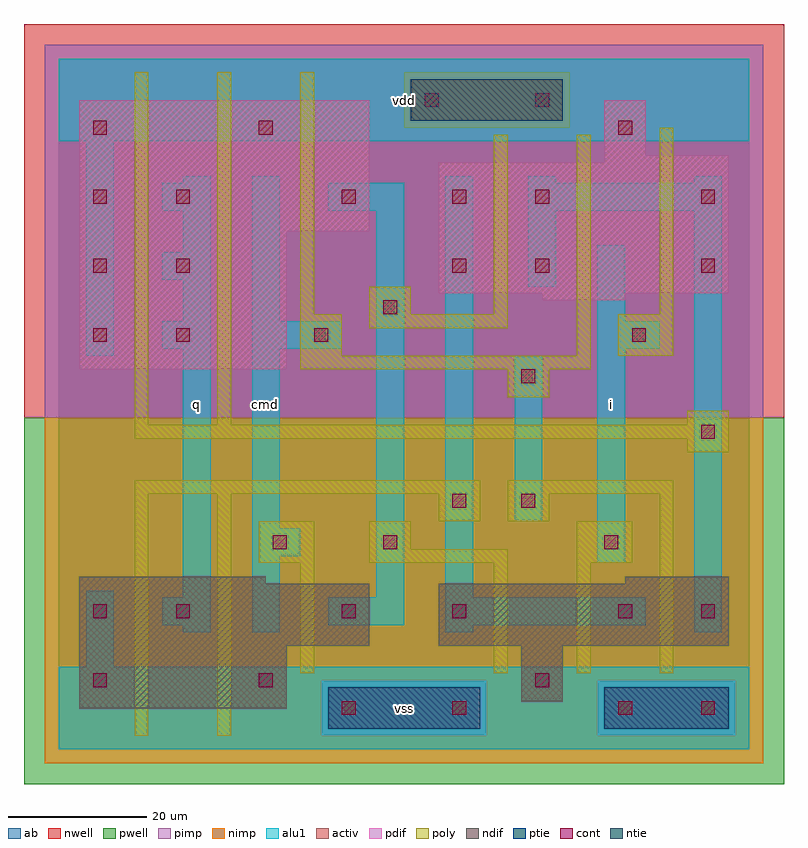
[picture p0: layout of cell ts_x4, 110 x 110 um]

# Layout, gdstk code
import gdstk
lib = gdstk.Library(unit=1e-6, precision=1e-09)
def R(c, l, rs):  # rectangles x0, y0, x1, y1
    for r in rs: c.add(gdstk.rectangle(r[:2], r[2:], *l))
def A(c, l, x, y, w, h, nx, ny, dx, dy):  # array of equal rectangles
    R(c, l, [(x+i*dx, y+j*dy, x+i*dx+w, y+j*dy+h) for i in range(nx) for j in range(ny)])
ndif = (3, 0)
pdif = (4, 0)
ntie = (5, 0)
ptie = (6, 0)
cont = (25, 0)
pwell = (41, 0)
nwell = (42, 0)
activ = (43, 0)
pimp = (44, 0)
nimp = (45, 0)
poly = (46, 0)
alu1 = (49, 0)
ab = (63, 0)

ts_x4 = lib.new_cell('ts_x4')
R(ts_x4, ndif, [(3,6,33,15), (67,7,73,15), (3,15,45,24), (55,15,97,24), (3,24,30,25), (82,24,97,25)])
R(ts_x4, pdif, [(3,55,33,75), (70,65,82,66), (55,66,97,85), (3,75,45,94), (79,85,97,86), (79,86,85,94)])
R(ts_x4, ntie, [(51,91,73,97)])
R(ts_x4, ptie, [(39,3,61,9), (79,3,97,9)])
A(ts_x4, cont, 5, 59, 2, 2, 1, 4, 0, 10)
A(ts_x4, cont, 17, 59, 2, 2, 1, 3, 0, 10)
R(ts_x4, cont, [(41,5,43,7), (57,5,59,7), (81,5,83,7), (93,5,95,7), (5,9,7,11), (29,9,31,11), (69,9,71,11), (5,19,7,21), (17,19,19,21), (41,19,43,21), (57,19,59,21), (81,19,83,21), (93,19,95,21), (31,29,33,31), (47,29,49,31), (79,29,81,31), (57,35,59,37), (67,35,69,37), (93,45,95,47), (67,53,69,55), (37,59,39,61), (83,59,85,61), (47,63,49,65), (57,69,59,71), (69,69,71,71), (93,69,95,71), (41,79,43,81), (57,79,59,81), (69,79,71,81), (93,79,95,81), (29,89,31,91), (81,89,83,91), (53,93,55,95), (69,93,71,95)])
R(ts_x4, pwell, [(-5,-5,105,48)])
R(ts_x4, nwell, [(-5,48,105,105)])
R(ts_x4, activ, [(39,3,61,9), (79,3,97,9), (3,6,33,15), (67,7,73,15), (3,15,45,24), (55,15,97,24), (3,24,30,25), (82,24,97,25), (3,55,33,75), (70,65,82,66), (55,66,97,85), (3,75,45,94), (79,85,97,86), (79,86,85,94), (51,91,73,97)])
R(ts_x4, pimp, [(38,2,62,10), (78,2,98,10), (-2,48,102,90), (-2,90,50,98), (74,90,102,98), (-2,98,102,102)])
R(ts_x4, nimp, [(-2,-2,102,2), (-2,2,38,10), (62,2,78,10), (98,2,102,10), (-2,10,102,48), (50,90,74,98)])
R(ts_x4, poly, [(11,2,13,37), (23,2,25,37), (35,11,37,27), (63,11,65,27), (75,11,77,27), (87,11,89,37), (29,27,37,33), (45,27,65,29), (75,27,83,33), (45,29,51,33), (55,33,61,37), (65,33,71,37), (11,37,61,39), (65,37,89,39), (91,43,97,45), (11,45,97,47), (11,47,13,98), (23,47,25,98), (91,47,97,49), (65,51,71,55), (35,55,77,57), (35,57,41,63), (75,57,77,89), (81,57,89,63), (45,61,65,63), (35,63,37,98), (45,63,51,67), (63,63,65,89), (87,63,89,90)])
A(ts_x4, alu1, 15, 58, 7, 4, 1, 3, 0, 10)
R(ts_x4, alu1, [(0,0,100,12), (4,12,8,23), (18,17,22,18), (28,17,32,28), (56,17,60,18), (92,17,96,78), (15,18,22,22), (39,18,50,22), (56,18,85,22), (18,22,22,58), (46,22,50,78), (56,22,60,83), (78,27,82,58), (28,28,35,32), (28,32,32,58), (66,33,70,57), (4,57,8,88), (28,58,41,62), (78,58,87,62), (18,62,22,68), (28,62,32,83), (78,62,82,73), (68,67,72,78), (18,72,22,78), (39,78,50,82), (68,78,96,82), (18,82,22,83), (68,82,72,83), (92,82,96,83), (0,88,100,100)])
R(ts_x4, ab, [(0,0,100,100)])
ts_x4.add(gdstk.Label('q', (20,50), layer=49, texttype=0))
ts_x4.add(gdstk.Label('cmd', (30,50), layer=49, texttype=0))
ts_x4.add(gdstk.Label('vss', (50,6), layer=49, texttype=0))
ts_x4.add(gdstk.Label('vdd', (50,94), layer=49, texttype=0))
ts_x4.add(gdstk.Label('i', (80,50), layer=49, texttype=0))

lib.write_gds('ts_x4.gds')
